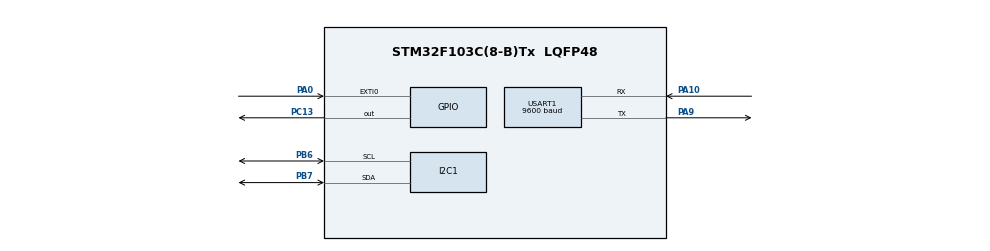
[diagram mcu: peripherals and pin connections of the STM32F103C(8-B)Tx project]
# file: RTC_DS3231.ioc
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Mcu.Family=STM32F1
Mcu.Name=STM32F103C(8-B)Tx
Mcu.Package=LQFP48
NVIC.EXTI0_IRQn=true\:0\:0\:false\:false\:true\:true
NVIC.I2C1_ER_IRQn=true\:0\:0\:false\:false\:true\:true
NVIC.I2C1_EV_IRQn=true\:0\:0\:false\:false\:true\:true
NVIC.PriorityGroup=NVIC_PRIORITYGROUP_4
NVIC.USART1_IRQn=true\:0\:0\:false\:false\:true\:true
PA0-WKUP.GPIO_ModeDefaultEXTI=GPIO_MODE_IT_FALLING
PA0-WKUP.GPIO_PuPd=GPIO_PULLUP
PA0-WKUP.Signal=GPXTI0
PA10.Mode=Asynchronous
PA10.Signal=USART1_RX
PA13.Mode=Serial_Wire
PA13.Signal=SYS_JTMS-SWDIO
PA14.Mode=Serial_Wire
PA14.Signal=SYS_JTCK-SWCLK
PA9.Mode=Asynchronous
PA9.Signal=USART1_TX
PB6.Mode=I2C
PB6.Signal=I2C1_SCL
PB7.Mode=I2C
PB7.Signal=I2C1_SDA
PC13-TAMPER-RTC.Signal=GPIO_Output
ProjectManager.HeapSize=0x200
ProjectManager.StackSize=0x400
ProjectManager.TargetToolchain=MDK-ARM V5
RCC.APB1Freq_Value=8000000
RCC.APB2Freq_Value=8000000
USART1.BaudRate=9600
USART1.VirtualMode=VM_ASYNC
board=RTC_DS3231

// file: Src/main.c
/**
  ******************************************************************************
  * @file           : main.c
  * @brief          : Main program body
  ******************************************************************************
  ** This notice applies to any and all portions of this file
  * that are not between comment pairs USER CODE BEGIN and
  * USER CODE END. Other portions of this file, whether
  * inserted by the user or by software development tools
  * are owned by their respective copyright owners.
  *
  * COPYRIGHT(c) 2018 STMicroelectronics
  *
  * Redistribution and use in source and binary forms, with or without modification,
  * are permitted provided that the following conditions are met:
  *   1. Redistributions of source code must retain the above copyright notice,
  *      this list of conditions and the following disclaimer.
  *   2. Redistributions in binary form must reproduce the above copyright notice,
  *      this list of conditions and the following disclaimer in the documentation
  *      and/or other materials provided with the distribution.
  *   3. Neither the name of STMicroelectronics nor the names of its contributors
  *      may be used to endorse or promote products derived from this software
  *      without specific prior written permission.
  *
  * THIS SOFTWARE IS PROVIDED BY THE COPYRIGHT HOLDERS AND CONTRIBUTORS "AS IS"
  * AND ANY EXPRESS OR IMPLIED WARRANTIES, INCLUDING, BUT NOT LIMITED TO, THE
  * IMPLIED WARRANTIES OF MERCHANTABILITY AND FITNESS FOR A PARTICULAR PURPOSE ARE
  * DISCLAIMED. IN NO EVENT SHALL THE COPYRIGHT HOLDER OR CONTRIBUTORS BE LIABLE
  * FOR ANY DIRECT, INDIRECT, INCIDENTAL, SPECIAL, EXEMPLARY, OR CONSEQUENTIAL
  * DAMAGES (INCLUDING, BUT NOT LIMITED TO, PROCUREMENT OF SUBSTITUTE GOODS OR
  * SERVICES; LOSS OF USE, DATA, OR PROFITS; OR BUSINESS INTERRUPTION) HOWEVER
  * CAUSED AND ON ANY THEORY OF LIABILITY, WHETHER IN CONTRACT, STRICT LIABILITY,
  * OR TORT (INCLUDING NEGLIGENCE OR OTHERWISE) ARISING IN ANY WAY OUT OF THE USE
  * OF THIS SOFTWARE, EVEN IF ADVISED OF THE POSSIBILITY OF SUCH DAMAGE.
  *
  ******************************************************************************
  */
#include "main.h"
#include "stm32f1xx_hal.h"
#include "string.h"
/* USER CODE BEGIN Includes */
#include "RTC.h"
/* USER CODE END Includes */

I2C_HandleTypeDef hi2c1;

UART_HandleTypeDef huart1;

/* USER CODE BEGIN PV */
/* Private variables ---------------------------------------------------------*/
extern DS3231_t DS3231;
DS3231Control check;
DS3231AlarmTime alarm1;
char array[50];
uint8_t ahour_var=0,amin_var=0;
uint8_t a1_min=0,a1_hour=0;
uint8_t control = 0;
uint8_t status = 0;
float temperature = 0;
/* USER CODE END PV */
void SystemClock_Config(void);
static void MX_GPIO_Init(void);
static void MX_I2C1_Init(void);
static void MX_USART1_UART_Init(void);

/* USER CODE BEGIN PFP */
/* Private function prototypes -----------------------------------------------*/

/* USER CODE END PFP */

/* USER CODE BEGIN 0 */
void HAL_GPIO_EXTI_Callback(uint16_t GPIO_Pin){
    if (GPIO_Pin==GPIO_PIN_0){
			printf("Wakeup\r\n");
    }
}
/* USER CODE END 0 */

int main(void)
{

  /* MCU Configuration----------------------------------------------------------*/

  /* Reset of all peripherals, Initializes the Flash interface and the Systick. */
  HAL_Init();

  /* Configure the system clock */
  SystemClock_Config();

  /* Initialize all configured peripherals */
  MX_GPIO_Init();
  MX_I2C1_Init();
  MX_USART1_UART_Init();
  /* USER CODE BEGIN 2 */

	RTC_SetTime(23,57,30,2,8,18);
	RTC_SetAlarm1(0,23,58,0,DS3231_MATCH_H_M_S,true);
	RTC_GetControl();
	HAL_Delay(5000);
	printf("Enter sleepmode\r\n");
	//Enter sleep mode
	__HAL_RCC_PWR_CLK_ENABLE();

	HAL_SuspendTick();

	HAL_PWR_EnterSLEEPMode(PWR_MAINREGULATOR_ON, PWR_SLEEPENTRY_WFI);

	HAL_ResumeTick();

	printf("Out sleepmode\r\n");
  /* USER CODE END 2 */

  /* Infinite loop */
  /* USER CODE BEGIN WHILE */
  while (1)
  {
//	RTC_GetTime();
//	printf(" %d-%d-%d", DS3231.date, DS3231.month, DS3231.year);
//	printf(" %d:%d:%d\r\n", DS3231.hour, DS3231.min, DS3231.sec);
//	RTC_GetAlarm1();
//	check = RTC_GetControl();
//	if(check.status == 1){
//	RTC_SetAlarm1(0,23,59,0,DS3231_MATCH_H_M_S,true);
//	}
	HAL_GPIO_TogglePin(GPIOC, GPIO_PIN_13);
	HAL_Delay(1000);

  /* USER CODE END WHILE */

  }

}

void SystemClock_Config(void)
{

  RCC_OscInitTypeDef RCC_OscInitStruct;
  RCC_ClkInitTypeDef RCC_ClkInitStruct;

    /**Initializes the CPU, AHB and APB busses clocks
    */
  RCC_OscInitStruct.OscillatorType = RCC_OSCILLATORTYPE_HSI;
  RCC_OscInitStruct.HSIState = RCC_HSI_ON;
  RCC_OscInitStruct.HSICalibrationValue = 16;
  RCC_OscInitStruct.PLL.PLLState = RCC_PLL_NONE;
  if (HAL_RCC_OscConfig(&RCC_OscInitStruct) != HAL_OK)
  {
    _Error_Handler(__FILE__, __LINE__);
  }

    /**Initializes the CPU, AHB and APB busses clocks
    */
  RCC_ClkInitStruct.ClockType = RCC_CLOCKTYPE_HCLK|RCC_CLOCKTYPE_SYSCLK
                              |RCC_CLOCKTYPE_PCLK1|RCC_CLOCKTYPE_PCLK2;
  RCC_ClkInitStruct.SYSCLKSource = RCC_SYSCLKSOURCE_HSI;
  RCC_ClkInitStruct.AHBCLKDivider = RCC_SYSCLK_DIV1;
  RCC_ClkInitStruct.APB1CLKDivider = RCC_HCLK_DIV1;
  RCC_ClkInitStruct.APB2CLKDivider = RCC_HCLK_DIV1;

  if (HAL_RCC_ClockConfig(&RCC_ClkInitStruct, FLASH_LATENCY_0) != HAL_OK)
  {
    _Error_Handler(__FILE__, __LINE__);
  }

    /**Configure the Systick interrupt time
    */
  HAL_SYSTICK_Config(HAL_RCC_GetHCLKFreq()/1000);

    /**Configure the Systick
    */
  HAL_SYSTICK_CLKSourceConfig(SYSTICK_CLKSOURCE_HCLK);

  /* SysTick_IRQn interrupt configuration */
  HAL_NVIC_SetPriority(SysTick_IRQn, 0, 0);
}

/* I2C1 init function */
static void MX_I2C1_Init(void)
{

  hi2c1.Instance = I2C1;
  hi2c1.Init.ClockSpeed = 100000;
  hi2c1.Init.DutyCycle = I2C_DUTYCYCLE_2;
  hi2c1.Init.OwnAddress1 = 0;
  hi2c1.Init.AddressingMode = I2C_ADDRESSINGMODE_7BIT;
  hi2c1.Init.DualAddressMode = I2C_DUALADDRESS_DISABLE;
  hi2c1.Init.OwnAddress2 = 0;
  hi2c1.Init.GeneralCallMode = I2C_GENERALCALL_DISABLE;
  hi2c1.Init.NoStretchMode = I2C_NOSTRETCH_DISABLE;
  if (HAL_I2C_Init(&hi2c1) != HAL_OK)
  {
    _Error_Handler(__FILE__, __LINE__);
  }

}

/* USART1 init function */
static void MX_USART1_UART_Init(void)
{

  huart1.Instance = USART1;
  huart1.Init.BaudRate = 9600;
  huart1.Init.WordLength = UART_WORDLENGTH_8B;
  huart1.Init.StopBits = UART_STOPBITS_1;
  huart1.Init.Parity = UART_PARITY_NONE;
  huart1.Init.Mode = UART_MODE_TX_RX;
  huart1.Init.HwFlowCtl = UART_HWCONTROL_NONE;
  huart1.Init.OverSampling = UART_OVERSAMPLING_16;
  if (HAL_UART_Init(&huart1) != HAL_OK)
  {
    _Error_Handler(__FILE__, __LINE__);
  }

}

/** Configure pins as
        * Analog
        * Input
        * Output
        * EVENT_OUT
        * EXTI
*/
static void MX_GPIO_Init(void)
{

  GPIO_InitTypeDef GPIO_InitStruct;

  /* GPIO Ports Clock Enable */
  __HAL_RCC_GPIOC_CLK_ENABLE();
  __HAL_RCC_GPIOA_CLK_ENABLE();
  __HAL_RCC_GPIOB_CLK_ENABLE();

  /*Configure GPIO pin Output Level */
  HAL_GPIO_WritePin(GPIOC, GPIO_PIN_13, GPIO_PIN_RESET);

  /*Configure GPIO pin : PC13 */
  GPIO_InitStruct.Pin = GPIO_PIN_13;
  GPIO_InitStruct.Mode = GPIO_MODE_OUTPUT_PP;
  GPIO_InitStruct.Speed = GPIO_SPEED_FREQ_LOW;
  HAL_GPIO_Init(GPIOC, &GPIO_InitStruct);

  /*Configure GPIO pin : PA0 */
  GPIO_InitStruct.Pin = GPIO_PIN_0;
  GPIO_InitStruct.Mode = GPIO_MODE_IT_FALLING;
  GPIO_InitStruct.Pull = GPIO_PULLUP;
  HAL_GPIO_Init(GPIOA, &GPIO_InitStruct);

  /* EXTI interrupt init*/
  HAL_NVIC_SetPriority(EXTI0_IRQn, 0, 0);
  HAL_NVIC_EnableIRQ(EXTI0_IRQn);

}

/* USER CODE BEGIN 4 */
#ifdef __GNUC__
  /* With GCC/RAISONANCE, small printf (option LD Linker->Libraries->Small printf
     set to 'Yes') calls __io_putchar() */
  #define PUTCHAR_PROTOTYPE int __io_putchar(int ch)
#else
  #define PUTCHAR_PROTOTYPE int fputc(int ch, FILE *f)
#endif /* __GNUC__ */
/*
  *
  * @brief  Retargets the C library printf function to the USART.
  * @param  None
  * @retval None
  */
PUTCHAR_PROTOTYPE
{
    /* Place your implementation of fputc here */
    /* e.g. write a character to the USART */
    HAL_UART_Transmit(&huart1, (uint8_t *)&ch, 1, 100);
    return ch;
}
/* USER CODE END 4 */

void _Error_Handler(char *file, int line)
{
  while(1)
  {
  }
}

/************************ (C) COPYRIGHT STMicroelectronics *****END OF FILE****/
